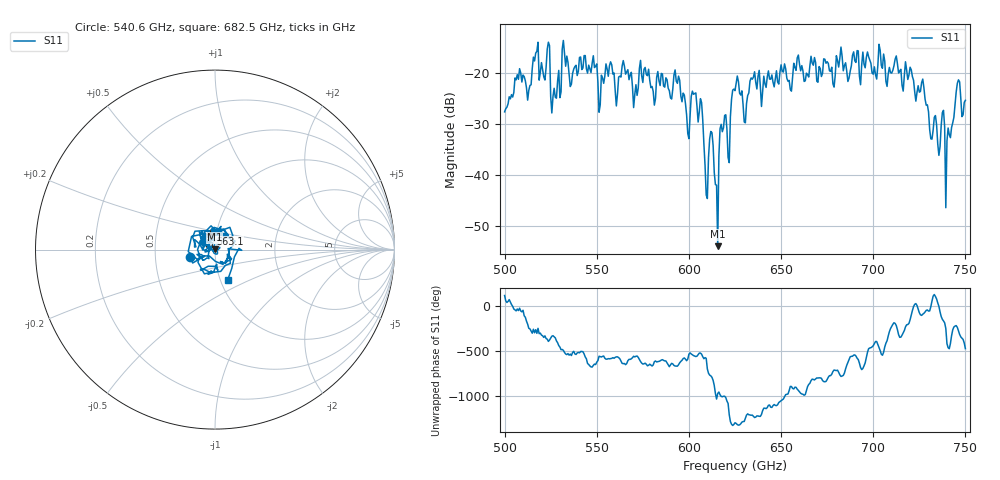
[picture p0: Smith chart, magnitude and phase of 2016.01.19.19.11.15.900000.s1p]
!Created with skrf (http://scikit-rf.org).
# GHz S RI R 50.0
!freq ReS11 ImS11
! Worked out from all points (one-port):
!   401 points, 500 GHz to 750 GHz, reference 50 ohm
!   lowest |S11| = -53.9 dB at 615.6 GHz (marker M1), VSWR 1.00, Z = 50 + j0.196 ohm
!   |S11| at or under -10 dB: start of sweep to end of sweep
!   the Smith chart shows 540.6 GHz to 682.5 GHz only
!   S11 on the Smith chart (normalised r, x): 540.6 GHz: 0.76, -0.06; 563.1 GHz: 0.94, +0.17; 682.5 GHz: 1.09, -0.37
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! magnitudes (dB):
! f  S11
! 500 GHz  -27.5
! 513.1 GHz  -23.3
! 516.9 GHz  -16.0
! 523.1 GHz  -15.2
! 526.2 GHz  -24.5
! 531.2 GHz  -15.2
! 540.6 GHz  -16.9
! 562.5 GHz  -20.6
! 563.1 GHz  -20.7
! 593.8 GHz  -21.9
! 599.4 GHz  -31.8
! 603.1 GHz  -23.9
! 606.9 GHz  -25.7
! 609.4 GHz  -43.9
! 611.9 GHz  -31.4
! 615.6 GHz  -53.9
! 618.1 GHz  -31.4
! 621.9 GHz  -37.5
! 625 GHz  -23.4
! 630.6 GHz  -29.7
! 634.4 GHz  -21.1
! 656.2 GHz  -20.7
! 682.5 GHz  -14.8
! 687.5 GHz  -19.6
! 718.8 GHz  -21.2
! 740.6 GHz  -30.7
! 745.6 GHz  -22.0
! 750 GHz  -25.3
